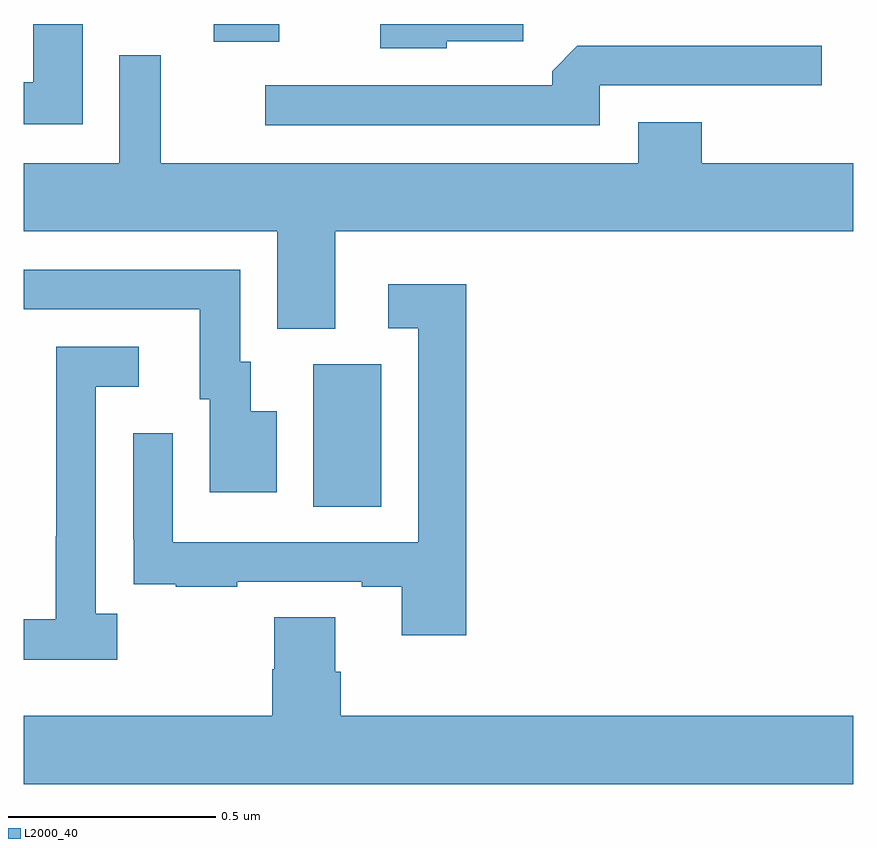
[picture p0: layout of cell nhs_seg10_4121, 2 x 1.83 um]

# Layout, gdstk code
import gdstk
lib = gdstk.Library(unit=1e-6, precision=1e-09)
def R(c, l, rs):  # rectangles x0, y0, x1, y1
    for r in rs: c.add(gdstk.rectangle(r[:2], r[2:], *l))
def P(c, l, *ps):  # polygons
    for p in ps: c.add(gdstk.Polygon(p, *l))
L2000_40 = (2000, 40)

nhs_seg10_4121 = lib.new_cell('nhs_seg10_4121')
R(nhs_seg10_4121, L2000_40, [(162.698,1282.336,162.862,1282.68), (162.458,1283.457,162.616,1283.5)])
P(nhs_seg10_4121, L2000_40, [(163.02,1283.459),(163.204,1283.459),(163.204,1283.5),(162.86,1283.5),(162.86,1283.441),(163.02,1283.441)],
  [(162.142,1283.5),(162.023,1283.5),(162.023,1283.359),(162,1283.359),(162,1283.258),(162.142,1283.258)],
  [(163.389,1283.352),(163.924,1283.352),(163.924,1283.448),(163.335,1283.448),(163.274,1283.386),(163.274,1283.352),(162.582,1283.352),(162.582,1283.256),(163.389,1283.256)],
  [(162.751,1283),(164,1283),(164,1283.164),(163.634,1283.164),(163.634,1283.263),(163.481,1283.263),(163.481,1283.164),(162.33,1283.164),(162.33,1283.425),(162.231,1283.425),(162.231,1283.164),(162,1283.164),(162,1283),(162.611,1283),(162.611,1282.765),(162.751,1282.765)],
  [(162.61,1282.567),(162.547,1282.567),(162.547,1282.686),(162.522,1282.686),(162.522,1282.908),(162,1282.908),(162,1282.812),(162.425,1282.812),(162.425,1282.596),(162.449,1282.596),(162.449,1282.371),(162.61,1282.371)],
  [(163.067,1282.873),(162.879,1282.873),(162.879,1282.767),(162.951,1282.767),(162.951,1282.251),(162.36,1282.251),(162.36,1282.513),(162.264,1282.513),(162.264,1282.258),(162.265,1282.258),(162.265,1282.149),(162.367,1282.149),(162.367,1282.143),(162.515,1282.143),(162.515,1282.155),(162.815,1282.155),(162.815,1282.143),(162.911,1282.143),(162.911,1282.026),(163.067,1282.026)],
  [(162.226,1282.078),(162.174,1282.078),(162.174,1282.626),(162.277,1282.626),(162.277,1282.722),(162.078,1282.722),(162.078,1282.265),(162.077,1282.265),(162.077,1282.065),(162,1282.065),(162,1281.968),(162.226,1281.968)],
  [(164,1281.832),(162.764,1281.832),(162.764,1281.938),(162.751,1281.938),(162.751,1282.07),(162.604,1282.07),(162.604,1281.945),(162.599,1281.945),(162.599,1281.832),(162,1281.832),(162,1281.668),(164,1281.668)])

lib.write_gds('nhs_seg10_4121.gds')
